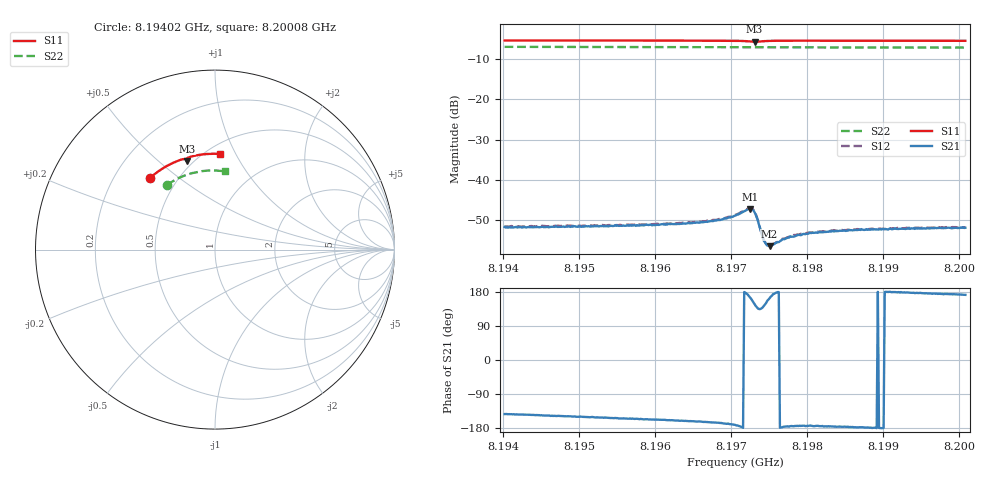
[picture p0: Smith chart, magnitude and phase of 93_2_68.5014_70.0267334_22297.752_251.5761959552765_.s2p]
#  HZ  S  RI  R  50.00
! Rohde & Schwarz Vector Network Analyzer
! Rohde-Schwarz,ZNB20-2Port,1311601062101988,3.16
! Created: UTC 3/20/2024, 4:52:44 PM
! freq[Hz]  re:S11  im:S11  re:S21  im:S21  re:S12  im:S12  re:S22  im:S22
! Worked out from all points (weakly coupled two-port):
!   401 points, 8.19402 GHz to 8.20008 GHz, reference 50 ohm
!   highest |S21| = -47.22 dB at 8.197247 GHz (marker M1); lowest = -56.5 dB at 8.197505 GHz (marker M2)
!   lowest |S11| = -5.7 dB at 8.197308 GHz (marker M3), VSWR 3.15, Z = 23.1 + j31.2 ohm
!   |S11| at or under -10 dB: nowhere
!   |S22| runs from -7.2 to -7.0 dB; largest |S21 - S12| = 0.00024
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8.19402e9  -0.3623 0.3987  -0.00206 -0.00157  -0.00213 -0.00151  -0.2678 0.3603
8.1950351e9  -0.3058 0.4428  -0.00226 -0.00131  -0.00236 -0.00126  -0.2195 0.3898
8.1960502e9  -0.2434 0.4788  -0.00254 -0.00105  -0.00264 -0.000978  -0.1677 0.4129
8.1966411e9  -0.2041 0.4959  -0.00286 -0.000847  -0.00296 -0.000758  -0.1364 0.4235
8.1968532e9  -0.189 0.5011  -0.00307 -0.000755  -0.00318 -0.000664  -0.1249 0.4266
8.1970502e9  -0.1732 0.5048  -0.00355 -0.000558  -0.00364 -0.000393  -0.114 0.4293
8.1972017e9  -0.1589 0.503  -0.0042 0.00035  -0.00426 0.000534  -0.1057 0.4309
8.1972471e9  -0.1556 0.4997  -0.00422 0.00109  -0.00426 0.00128  -0.1032 0.4313
8.1972774e9  -0.1552 0.4968  -0.00393 0.00167  -0.00394 0.00186  -0.1015 0.4316
8.1973077e9  -0.1569 0.4943  -0.00333 0.00213  -0.0033 0.0023  -0.0999 0.4319
8.197338e9  -0.1596 0.4943  -0.00256 0.00222  -0.0025 0.00235  -0.0984 0.4322
8.1973986e9  -0.162 0.4998  -0.00158 0.00151  -0.00149 0.00158  -0.0953 0.433
8.1974289e9  -0.1608 0.503  -0.00139 0.00107  -0.00135 0.00115  -0.0936 0.4334
8.1974592e9  -0.1591 0.5056  -0.00138 0.000784  -0.00134 0.000871  -0.0919 0.4337
8.1975047e9  -0.1556 0.5088  -0.00143 0.000437  -0.00148 0.000497  -0.0894 0.4342
8.1975501e9  -0.152 0.5111  -0.00155 0.000173  -0.00157 0.000273  -0.0867 0.4346
8.1977017e9  -0.14 0.5161  -0.00183 -0.000133  -0.00186 -7.53e-05  -0.0784 0.4362
8.1978077e9  -0.132 0.5185  -0.00196 -0.000185  -0.00202 -9.26e-05  -0.0724 0.437
8.1980653e9  -0.1133 0.523  -0.00219 -0.000233  -0.00222 -0.00013  -0.0579 0.4387
8.198338e9  -0.0935 0.5269  -0.0023 -0.000187  -0.00235 -0.000108  -0.0427 0.4399
8.1990804e9  -0.0408 0.5328  -0.00247 2.9e-06  -0.00247 0.000131  -0.000758 0.4406
8.2000803e9  0.03 0.5323  -0.00251 0.000358  -0.00254 0.000473  0.0557 0.4355
